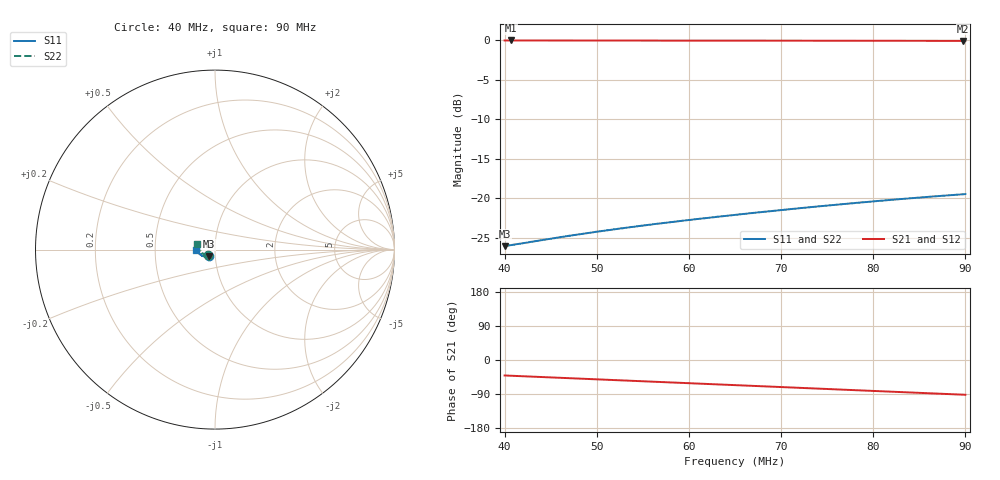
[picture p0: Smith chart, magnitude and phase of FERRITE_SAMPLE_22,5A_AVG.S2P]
!Agilent Technologies,E5061B,MY49102235,A.02.00
!Date: Mon Jul 03 10:57:07 2023
!Data & Calibration Information:
!Freq	S11:SOLT2(ON)	S21:SOLT2(ON)	S12:SOLT2(ON)	S22:SOLT2(ON)
# Hz S RI R 50
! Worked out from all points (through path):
!   1600 points, 40 MHz to 90 MHz, reference 50 ohm
!   highest |S21| = -0.01 dB at 40.69 MHz (marker M1); lowest = -0.1 dB at 89.78 MHz (marker M2)
!   group delay of S21, straight-line fit = 2.83 ns
!   lowest |S11| = -26.1 dB at 40 MHz (marker M3), VSWR 1.10, Z = 46.8 - j3.58 ohm
!   |S11| at or under -10 dB: start of sweep to end of sweep
!   |S22| runs from -26.2 to -19.5 dB; largest |S21 - S12| = 0.0014
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4e7  -0.0317 -0.0382  0.7559 -0.6531  0.756 -0.6522  -0.0366 -0.0325
4.068793e7  -0.0327 -0.0384  0.748 -0.6623  0.7481 -0.6613  -0.0376 -0.0325
4.300188e7  -0.036 -0.0389  0.7198 -0.6924  0.72 -0.6917  -0.0415 -0.0324
4.444028e7  -0.0381 -0.0393  0.7016 -0.7104  0.702 -0.7098  -0.0439 -0.0321
4.834897e7  -0.0439 -0.0399  0.6504 -0.7571  0.6505 -0.7567  -0.0503 -0.0307
5.225766e7  -0.05 -0.0399  0.5958 -0.8004  0.5959 -0.7998  -0.0566 -0.0284
5.482176e7  -0.0538 -0.0395  0.5586 -0.8263  0.5587 -0.826  -0.0607 -0.0264
5.666667e7  -0.0568 -0.0391  0.5311 -0.8439  0.5311 -0.8434  -0.0636 -0.0247
5.898061e7  -0.0604 -0.0383  0.4961 -0.8647  0.4958 -0.8643  -0.067 -0.0226
6.082552e7  -0.0635 -0.0374  0.4674 -0.8805  0.4673 -0.8798  -0.0697 -0.0206
6.501563e7  -0.0705 -0.0345  0.4004 -0.9128  0.4007 -0.9118  -0.0757 -0.0158
6.901814e7  -0.0771 -0.0307  0.3344 -0.9389  0.3349 -0.938  -0.0814 -0.0106
7.133208e7  -0.0808 -0.0282  0.2953 -0.9517  0.2959 -0.9508  -0.0846 -0.00706
7.33646e7  -0.0841 -0.0259  0.2603 -0.9617  0.2612 -0.9609  -0.0872 -0.00385
7.530331e7  -0.0872 -0.0234  0.2268 -0.9697  0.2276 -0.9692  -0.0895 -0.000549
7.746091e7  -0.0902 -0.0205  0.1894 -0.9774  0.19 -0.9768  -0.0921 0.00332
7.936836e7  -0.093 -0.0179  0.1559 -0.9827  0.1565 -0.9824  -0.0941 0.00713
8.16823e7  -0.0963 -0.0146  0.1154 -0.9879  0.116 -0.9876  -0.0963 0.0118
8.362101e7  -0.0987 -0.0117  0.0812 -0.9908  0.0817 -0.9906  -0.0979 0.016
8.596623e7  -0.1016 -0.00794  0.0401 -0.993  0.0404 -0.9927  -0.0994 0.0212
8.978111e7  -0.106 -0.00136  -0.0268 -0.9928  -0.0265 -0.9924  -0.1014 0.03
9e7  -0.1062 -0.000879  -0.0304 -0.9927  -0.0303 -0.9922  -0.1015 0.0306
